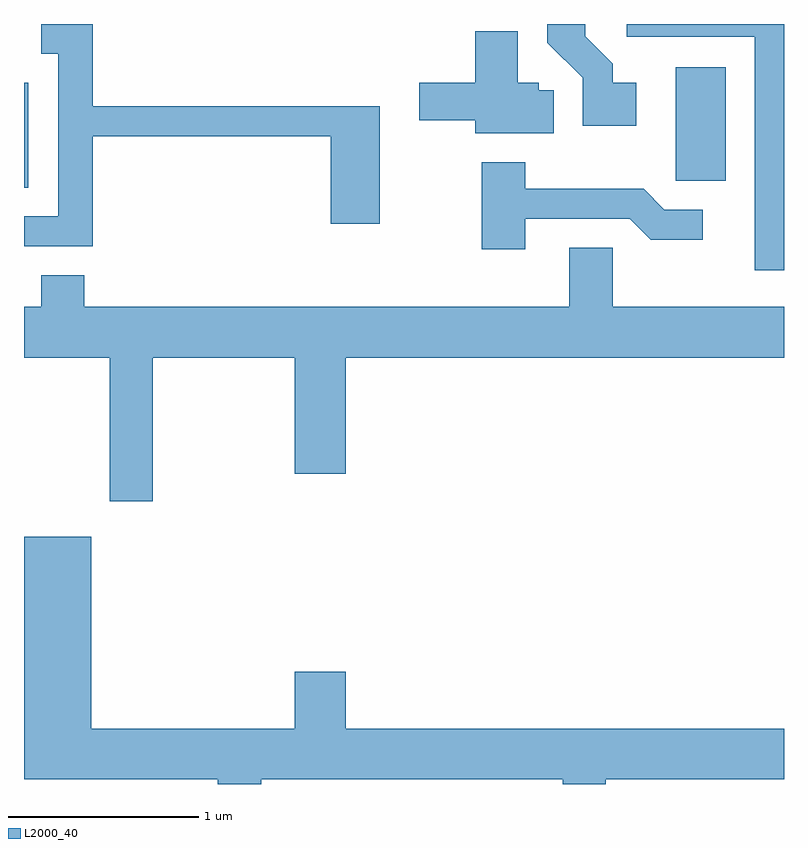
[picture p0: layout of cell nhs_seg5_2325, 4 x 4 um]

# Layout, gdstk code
import gdstk
lib = gdstk.Library(unit=1e-6, precision=1e-09)
def R(c, l, rs):  # rectangles x0, y0, x1, y1
    for r in rs: c.add(gdstk.rectangle(r[:2], r[2:], *l))
def P(c, l, *ps):  # polygons
    for p in ps: c.add(gdstk.Polygon(p, *l))
L2000_40 = (2000, 40)

nhs_seg5_2325 = lib.new_cell('nhs_seg5_2325')
R(nhs_seg5_2325, L2000_40, [(253.611,1493.211,253.634,1493.764), (257.041,1493.246,257.304,1493.844)])
P(nhs_seg5_2325, L2000_40, [(257.611,1494.072),(256.783,1494.072),(256.783,1494.006),(257.456,1494.006),(257.456,1492.776),(257.611,1492.776)],
  [(253.974,1493.481),(255.226,1493.481),(255.226,1493.021),(255.484,1493.021),(255.484,1493.639),(253.974,1493.639),(253.974,1494.072),(253.701,1494.072),(253.701,1493.916),(253.791,1493.916),(253.791,1493.059),(253.611,1493.059),(253.611,1492.901),(253.974,1492.901)],
  [(256.834,1493.764),(256.709,1493.764),(256.709,1493.862),(256.564,1494.007),(256.564,1494.072),(256.366,1494.072),(256.366,1493.974),(256.551,1493.789),(256.551,1493.536),(256.834,1493.536)],
  [(256.399,1493.724),(256.319,1493.724),(256.319,1493.764),(256.209,1493.764),(256.209,1494.034),(255.986,1494.034),(255.986,1493.764),(255.691,1493.764),(255.691,1493.566),(255.986,1493.566),(255.986,1493.496),(256.399,1493.496)],
  [(256.249,1493.046),(256.799,1493.046),(256.909,1492.936),(257.183,1492.936),(257.183,1493.094),(256.981,1493.094),(256.872,1493.204),(256.249,1493.204),(256.249,1493.344),(256.021,1493.344),(256.021,1492.886),(256.249,1492.886)],
  [(254.289,1492.316),(255.036,1492.316),(255.036,1491.706),(255.304,1491.706),(255.304,1492.316),(257.611,1492.316),(257.611,1492.584),(256.709,1492.584),(256.709,1492.894),(256.481,1492.894),(256.481,1492.584),(253.929,1492.584),(253.929,1492.749),(253.701,1492.749),(253.701,1492.584),(253.611,1492.584),(253.611,1492.316),(254.061,1492.316),(254.061,1491.561),(254.289,1491.561)],
  [(254.859,1490.096),(256.446,1490.096),(256.446,1490.072),(256.674,1490.072),(256.674,1490.096),(257.611,1490.096),(257.611,1490.364),(255.304,1490.364),(255.304,1490.664),(255.036,1490.664),(255.036,1490.364),(253.964,1490.364),(253.964,1491.374),(253.611,1491.374),(253.611,1490.096),(254.631,1490.096),(254.631,1490.072),(254.859,1490.072)])

lib.write_gds('nhs_seg5_2325.gds')
